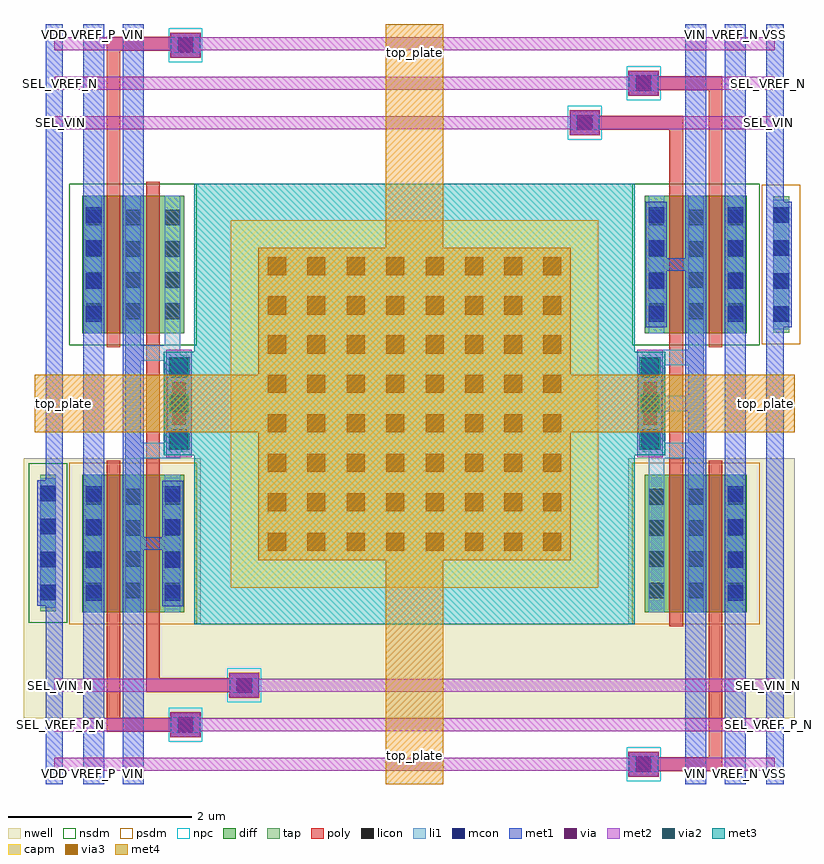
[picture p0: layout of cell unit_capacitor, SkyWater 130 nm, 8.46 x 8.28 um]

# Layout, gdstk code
from math import pi, radians
import gdstk
lib = gdstk.Library(unit=1e-6, precision=1e-09)
def R(c, l, rs):  # rectangles x0, y0, x1, y1
    for r in rs: c.add(gdstk.rectangle(r[:2], r[2:], *l))
def A(c, l, x, y, w, h, nx, ny, dx, dy):  # array of equal rectangles
    R(c, l, [(x+i*dx, y+j*dy, x+i*dx+w, y+j*dy+h) for i in range(nx) for j in range(ny)])
nwell = (64, 20)
diff = (65, 20)
tap = (65, 44)
poly = (66, 20)
licon = (66, 44)
li1 = (67, 20)
mcon = (67, 44)
met1 = (68, 20)
via = (68, 44)
met2 = (69, 20)
via2 = (69, 44)
met3 = (70, 20)
via3 = (70, 44)
met4 = (71, 20)
capm = (89, 44)
nsdm = (93, 44)
psdm = (94, 20)
npc = (95, 20)

cap_mim_m3__base__26 = lib.new_cell('cap_mim_m3__base$$26')
R(cap_mim_m3__base__26, met3, [(-0.4,-0.4,4.4,4.4)])
A(cap_mim_m3__base__26, via3, 0.4, 0.4, 0.2, 0.2, 6, 6, 0.43, 0.43)
A(cap_mim_m3__base__26, via3, 2.975, 0.4, 0.2, 0.2, 1, 6, 0, 0.43)
A(cap_mim_m3__base__26, via3, 3.4, 0.4, 0.2, 0.2, 1, 6, 0, 0.43)
A(cap_mim_m3__base__26, via3, 0.4, 2.975, 0.2, 0.2, 6, 2, 0.43, 0.425)
R(cap_mim_m3__base__26, via3, [(2.975,2.975,3.175,3.175), (3.4,2.975,3.6,3.175), (2.975,3.4,3.175,3.6), (3.4,3.4,3.6,3.6)])
R(cap_mim_m3__base__26, met4, [(0.3,0.3,3.7,3.7)])
R(cap_mim_m3__base__26, capm, [(0,0,4,4)])
cap_mim_m3__base__26.add(gdstk.Label('MINUS', (2,2), layer=70, texttype=20))
cap_mim_m3__base__26.add(gdstk.Label('PLUS', (2,2), layer=71, texttype=20))

pfet_01v8__27 = lib.new_cell('pfet_01v8$$27')
R(pfet_01v8__27, nwell, [(-0.405,-0.18,0.595,1.68)])
R(pfet_01v8__27, diff, [(-0.225,0,0,1.5), (0,0,0.15,1.5), (0.15,0,0.415,1.5)])
R(pfet_01v8__27, poly, [(0,-0.15,0.15,-0.095), (0,-0.095,0.15,0), (0,0,0.15,1.5), (0,1.5,0.15,1.595), (0,1.595,0.15,1.65)])
A(pfet_01v8__27, licon, -0.225, 0.155, 0.17, 0.17, 1, 4, 0, 0.34)
A(pfet_01v8__27, licon, 0.205, 0.155, 0.17, 0.17, 1, 4, 0, 0.34)
R(pfet_01v8__27, li1, [(-0.225,0,-0.055,1.5), (0.205,0,0.375,1.5)])
R(pfet_01v8__27, psdm, [(-0.235,-0.13,0.555,1.63)])
pfet_01v8__27.add(gdstk.Label('D_drain_1', (0.282,0.75), layer=65, texttype=20))
pfet_01v8__27.add(gdstk.Label('S_source_0', (-0.112,0.75), layer=65, texttype=20))
pfet_01v8__27.add(gdstk.Label('G_gate_1', (0.075,-0.122), layer=66, texttype=20))
pfet_01v8__27.add(gdstk.Label('G_gate_1', (0.075,1.622), layer=66, texttype=20))
pfet_01v8__27.add(gdstk.Label('D_drain_1', (0.29,0.75), layer=67, texttype=20))
pfet_01v8__27.add(gdstk.Label('S_source_0', (-0.14,0.75), layer=67, texttype=20))
pfet_01v8__27.add(gdstk.Label('B', (0.095,0.75), layer=64, texttype=20))

pfet_01v8__28 = lib.new_cell('pfet_01v8$$28')
R(pfet_01v8__28, nwell, [(-0.445,-0.18,0.385,1.68)])
R(pfet_01v8__28, diff, [(-0.265,0,0,1.5), (0,0,0.15,1.5), (0.15,0,0.205,1.5)])
R(pfet_01v8__28, poly, [(0,-0.15,0.15,-0.095), (0,-0.095,0.15,0), (0,0,0.15,1.5), (0,1.5,0.15,1.595), (0,1.595,0.15,1.65)])
A(pfet_01v8__28, licon, -0.225, 0.155, 0.17, 0.17, 1, 4, 0, 0.34)
R(pfet_01v8__28, li1, [(-0.225,0,-0.055,1.5)])
R(pfet_01v8__28, psdm, [(-0.405,-0.13,0.215,1.63)])
pfet_01v8__28.add(gdstk.Label('D_drain_1', (0.177,0.75), layer=65, texttype=20))
pfet_01v8__28.add(gdstk.Label('S_source_0', (-0.132,0.75), layer=65, texttype=20))
pfet_01v8__28.add(gdstk.Label('G_gate_1', (0.075,-0.122), layer=66, texttype=20))
pfet_01v8__28.add(gdstk.Label('G_gate_1', (0.075,1.622), layer=66, texttype=20))
pfet_01v8__28.add(gdstk.Label('S_source_0', (-0.14,0.75), layer=67, texttype=20))
pfet_01v8__28.add(gdstk.Label('B', (-0.03,0.75), layer=64, texttype=20))

nfet_01v8__29 = lib.new_cell('nfet_01v8$$29')
R(nfet_01v8__29, diff, [(-0.265,0,0,1.5), (0,0,0.15,1.5), (0.15,0,0.375,1.5)])
R(nfet_01v8__29, poly, [(0,-0.15,0.15,-0.095), (0,-0.095,0.15,0), (0,0,0.15,1.5), (0,1.5,0.15,1.595), (0,1.595,0.15,1.65)])
A(nfet_01v8__29, licon, -0.225, 0.155, 0.17, 0.17, 1, 4, 0, 0.34)
A(nfet_01v8__29, licon, 0.205, 0.155, 0.17, 0.17, 1, 4, 0, 0.34)
R(nfet_01v8__29, li1, [(-0.225,0,-0.055,1.5), (0.205,0,0.375,1.5)])
R(nfet_01v8__29, nsdm, [(-0.405,-0.13,0.385,1.63)])
nfet_01v8__29.add(gdstk.Label('D_drain_1', (0.262,0.75), layer=65, texttype=20))
nfet_01v8__29.add(gdstk.Label('S_source_0', (-0.132,0.75), layer=65, texttype=20))
nfet_01v8__29.add(gdstk.Label('G_gate_1', (0.075,-0.122), layer=66, texttype=20))
nfet_01v8__29.add(gdstk.Label('G_gate_1', (0.075,1.622), layer=66, texttype=20))
nfet_01v8__29.add(gdstk.Label('D_drain_1', (0.29,0.75), layer=67, texttype=20))
nfet_01v8__29.add(gdstk.Label('S_source_0', (-0.14,0.75), layer=67, texttype=20))

nfet_01v8__30 = lib.new_cell('nfet_01v8$$30')
R(nfet_01v8__30, diff, [(-0.055,0,0,1.5), (0,0,0.15,1.5), (0.15,0,0.415,1.5)])
R(nfet_01v8__30, poly, [(0,-0.15,0.15,-0.095), (0,-0.095,0.15,0), (0,0,0.15,1.5), (0,1.5,0.15,1.595), (0,1.595,0.15,1.65)])
A(nfet_01v8__30, licon, 0.205, 0.155, 0.17, 0.17, 1, 4, 0, 0.34)
R(nfet_01v8__30, li1, [(0.205,0,0.375,1.5)])
R(nfet_01v8__30, nsdm, [(-0.065,-0.13,0.555,1.63)])
nfet_01v8__30.add(gdstk.Label('D_drain_1', (0.282,0.75), layer=65, texttype=20))
nfet_01v8__30.add(gdstk.Label('S_source_0', (-0.027,0.75), layer=65, texttype=20))
nfet_01v8__30.add(gdstk.Label('G_gate_1', (0.075,-0.122), layer=66, texttype=20))
nfet_01v8__30.add(gdstk.Label('G_gate_1', (0.075,1.622), layer=66, texttype=20))
nfet_01v8__30.add(gdstk.Label('D_drain_1', (0.29,0.75), layer=67, texttype=20))

polyconn__19 = lib.new_cell('polyConn$$19')
R(polyconn__19, poly, [(-0.135,-0.165,0.135,0.165)])
R(polyconn__19, licon, [(-0.085,-0.085,0.085,0.085)])
R(polyconn__19, li1, [(-0.085,-0.165,0.085,0.165)])
R(polyconn__19, mcon, [(-0.085,-0.085,0.085,0.085)])
R(polyconn__19, met1, [(-0.13,-0.16,0.13,0.16)])
R(polyconn__19, npc, [(-0.185,-0.185,0.185,0.185)])

m1m2_c__11 = lib.new_cell('M1M2_C$$11')
R(m1m2_c__11, met1, [(-0.13,-0.16,0.13,0.16)])
R(m1m2_c__11, via, [(-0.075,-0.075,0.075,0.075)])
R(m1m2_c__11, met2, [(-0.13,-0.16,0.13,0.16)])

l1m1_c__18 = lib.new_cell('L1M1_C$$18')
R(l1m1_c__18, li1, [(-0.085,-0.525,0.085,0.525)])
A(l1m1_c__18, mcon, -0.085, -0.445, 0.17, 0.17, 1, 3, 0, 0.36)
R(l1m1_c__18, met1, [(-0.115,-0.505,0.115,0.505)])

m1m2_c__20 = lib.new_cell('M1M2_C$$20')
R(m1m2_c__20, met1, [(-0.13,-0.32,0.13,0.32)])
R(m1m2_c__20, via, [(-0.075,-0.235,0.075,-0.085), (-0.075,0.085,0.075,0.235)])
R(m1m2_c__20, met2, [(-0.14,-0.385,0.14,0.385)])

l1m1_c__21 = lib.new_cell('L1M1_C$$21')
R(l1m1_c__21, li1, [(-0.1,-0.3,0.1,0.3)])
R(l1m1_c__21, mcon, [(-0.085,-0.085,0.085,0.085)])
R(l1m1_c__21, met1, [(-0.13,-0.32,0.13,0.32)])

nwelltap__22 = lib.new_cell('nwellTap$$22')
R(nwelltap__22, nwell, [(-0.265,-0.925,0.265,0.925)])
R(nwelltap__22, tap, [(-0.085,-0.745,0.085,0.745)])
A(nwelltap__22, licon, -0.085, -0.625, 0.17, 0.17, 1, 4, 0, 0.36)
R(nwelltap__22, li1, [(-0.085,-0.705,0.085,0.705)])
A(nwelltap__22, mcon, -0.085, -0.625, 0.17, 0.17, 1, 4, 0, 0.36)
R(nwelltap__22, met1, [(-0.115,-0.685,0.115,0.685)])
R(nwelltap__22, nsdm, [(-0.21,-0.87,0.21,0.87)])

subtap__23 = lib.new_cell('subTap$$23')
R(subtap__23, tap, [(-0.085,-0.745,0.085,0.745)])
A(subtap__23, licon, -0.085, -0.625, 0.17, 0.17, 1, 4, 0, 0.36)
R(subtap__23, li1, [(-0.085,-0.705,0.085,0.705)])
A(subtap__23, mcon, -0.085, -0.625, 0.17, 0.17, 1, 4, 0, 0.36)
R(subtap__23, met1, [(-0.115,-0.685,0.115,0.685)])
R(subtap__23, psdm, [(-0.21,-0.87,0.21,0.87)])

l1m1_c__24 = lib.new_cell('L1M1_C$$24')
R(l1m1_c__24, li1, [(-0.085,-0.705,0.085,0.705)])
A(l1m1_c__24, mcon, -0.085, -0.625, 0.17, 0.17, 1, 4, 0, 0.36)
R(l1m1_c__24, met1, [(-0.115,-0.685,0.115,0.685)])

m2m3_c__25 = lib.new_cell('M2M3_C$$25')
R(m2m3_c__25, met2, [(-0.14,-0.585,0.14,0.585)])
A(m2m3_c__25, via2, -0.1, -0.5, 0.2, 0.2, 1, 3, 0, 0.4)
R(m2m3_c__25, met3, [(-0.165,-0.565,0.165,0.565)])

unit_capacitor = lib.new_cell('unit_capacitor')
R(unit_capacitor, nwell, [(-0.12,0.715,8.28,1.74), (6.47,1.74,8.28,3.55)])
R(unit_capacitor, met1, [(0.12,0,0.31,0.23), (0.53,0,0.76,0.23), (0.96,0,1.19,0.23), (7.09,0,7.32,0.23), (7.52,0,7.75,0.23), (7.97,0,8.16,0.23), (0.12,8.05,0.31,8.28), (0.53,8.05,0.76,8.28), (0.96,8.05,1.19,8.28), (7.09,8.05,7.32,8.28), (7.52,8.05,7.75,8.28), (7.97,8.05,8.16,8.28)])
A(unit_capacitor, met2, 0.215, 0.145, 0.14, 0.14, 1, 3, 0, 0.43)
A(unit_capacitor, met2, 7.925, 0.145, 0.14, 0.14, 1, 3, 0, 0.43)
A(unit_capacitor, met2, 0.215, 7.135, 0.14, 0.14, 1, 3, 0, 0.43)
A(unit_capacitor, met2, 7.925, 7.135, 0.14, 0.14, 1, 3, 0, 0.43)
R(unit_capacitor, met4, [(3.825,0,4.455,0.63), (0,3.83,0.63,4.46), (7.65,3.83,8.28,4.46), (3.825,7.65,4.455,8.28)])
unit_capacitor.add(gdstk.FlexPath([(0.54,4.145),(2.44,4.145)], 0.63, ends="flush", simple_path=True, layer=71, datatype=20))  # met4
unit_capacitor.add(gdstk.FlexPath([(4.14,0.63),(4.14,2.44)], 0.63, ends="flush", simple_path=True, layer=71, datatype=20))  # met4
unit_capacitor.add(gdstk.FlexPath([(7.65,4.145),(5.84,4.145)], 0.63, ends="flush", simple_path=True, layer=71, datatype=20))  # met4
unit_capacitor.add(gdstk.FlexPath([(4.14,7.65),(4.14,5.84)], 0.63, ends="flush", simple_path=True, layer=71, datatype=20))  # met4
unit_capacitor.add(gdstk.FlexPath([(7.205,4.645),(7.205,4.91)], 0.17, ends=(0.085, 0), simple_path=True, layer=67, datatype=20))  # li1
unit_capacitor.add(gdstk.FlexPath([(7.205,3.635),(7.205,4.145)], 0.17, ends="extended", simple_path=True, layer=67, datatype=20))  # li1
unit_capacitor.add(gdstk.FlexPath([(1.075,4.695),(1.075,4.91)], 0.17, ends=(0.085, 0), simple_path=True, layer=67, datatype=20))  # li1
unit_capacitor.add(gdstk.FlexPath([(6.775,3.635),(6.775,4.145)], 0.17, ends="extended", simple_path=True, layer=67, datatype=20))  # li1
unit_capacitor.add(gdstk.FlexPath([(1.075,3.37),(1.075,3.635)], 0.17, ends=(0, 0.085), simple_path=True, layer=67, datatype=20))  # li1
unit_capacitor.add(gdstk.FlexPath([(6.775,4.645),(6.775,4.145)], 0.17, ends="extended", simple_path=True, layer=67, datatype=20))  # li1
unit_capacitor.add(gdstk.FlexPath([(6.775,3.37),(6.775,3.635)], 0.17, ends=(0, 0.085), simple_path=True, layer=67, datatype=20))  # li1
unit_capacitor.add(gdstk.FlexPath([(1.075,3.635),(1.075,4.695)], 0.17, ends="extended", simple_path=True, layer=67, datatype=20))  # li1
unit_capacitor.add(gdstk.FlexPath([(7.205,3.635),(6.775,3.635)], 0.17, ends="extended", simple_path=True, layer=67, datatype=20))  # li1
unit_capacitor.add(gdstk.FlexPath([(7.205,4.645),(6.775,4.645)], 0.17, ends="extended", simple_path=True, layer=67, datatype=20))  # li1
unit_capacitor.add(gdstk.FlexPath([(7.205,4.145),(7.205,4.645)], 0.17, ends="extended", simple_path=True, layer=67, datatype=20))  # li1
unit_capacitor.add(gdstk.FlexPath([(1.505,3.635),(1.505,4.96)], 0.17, ends=(0.085, 0), simple_path=True, layer=67, datatype=20))  # li1
unit_capacitor.add(gdstk.FlexPath([(7.205,3.37),(7.205,3.635)], 0.17, ends=(0, 0.085), simple_path=True, layer=67, datatype=20))  # li1
unit_capacitor.add(gdstk.FlexPath([(1.075,4.695),(1.42,4.695)], 0.17, ends=(0.085, 0), simple_path=True, layer=67, datatype=20))  # li1
unit_capacitor.add(gdstk.FlexPath([(6.775,4.145),(7.205,4.145)], 0.17, ends="extended", simple_path=True, layer=67, datatype=20))  # li1
unit_capacitor.add(gdstk.FlexPath([(1.075,3.635),(1.505,3.635)], 0.17, ends="extended", simple_path=True, layer=67, datatype=20))  # li1
unit_capacitor.add(gdstk.FlexPath([(7.42,6.56),(7.42,7.635)], 0.15, ends=(0, 0.075), simple_path=True, layer=66, datatype=20))  # poly
unit_capacitor.add(gdstk.FlexPath([(6.99,7.205),(5.995,7.205)], 0.15, ends=(0.075, 0), simple_path=True, layer=66, datatype=20))  # poly
unit_capacitor.add(gdstk.FlexPath([(7.42,7.635),(6.635,7.635)], 0.15, ends=(0.075, 0), simple_path=True, layer=66, datatype=20))  # poly
unit_capacitor.add(gdstk.FlexPath([(0.86,1.72),(0.86,0.645)], 0.15, ends=(0, 0.075), simple_path=True, layer=66, datatype=20))  # poly
unit_capacitor.add(gdstk.FlexPath([(1.29,1.075),(2.285,1.075)], 0.15, ends=(0.075, 0), simple_path=True, layer=66, datatype=20))  # poly
unit_capacitor.add(gdstk.FlexPath([(7.42,1.72),(7.42,0.215)], 0.15, ends=(0, 0.075), simple_path=True, layer=66, datatype=20))  # poly
unit_capacitor.add(gdstk.FlexPath([(1.29,3.52),(1.29,4.76)], 0.15, ends="flush", simple_path=True, layer=66, datatype=20))  # poly
unit_capacitor.add(gdstk.FlexPath([(1.645,8.065),(1.645,8.05)], 0.15, ends=(0.075, 0), simple_path=True, layer=66, datatype=20))  # poly
unit_capacitor.add(gdstk.FlexPath([(1.29,1.72),(1.29,1.075)], 0.15, ends=(0, 0.075), simple_path=True, layer=66, datatype=20))  # poly
unit_capacitor.add(gdstk.FlexPath([(0.86,6.56),(0.86,8.065)], 0.15, ends=(0, 0.075), simple_path=True, layer=66, datatype=20))  # poly
unit_capacitor.add(gdstk.FlexPath([(6.99,6.56),(6.99,7.205)], 0.15, ends=(0, 0.075), simple_path=True, layer=66, datatype=20))  # poly
unit_capacitor.add(gdstk.FlexPath([(0.86,8.065),(1.645,8.065)], 0.15, ends="extended", simple_path=True, layer=66, datatype=20))  # poly
unit_capacitor.add(gdstk.FlexPath([(6.99,3.52),(6.99,4.76)], 0.15, ends="flush", simple_path=True, layer=66, datatype=20))  # poly
unit_capacitor.add(gdstk.FlexPath([(7.42,0.215),(6.635,0.215)], 0.15, ends=(0.075, 0), simple_path=True, layer=66, datatype=20))  # poly
unit_capacitor.add(gdstk.FlexPath([(0.86,0.645),(1.645,0.645)], 0.15, ends=(0.075, 0), simple_path=True, layer=66, datatype=20))  # poly
unit_capacitor.add(gdstk.FlexPath([(1.075,2.62),(1.505,2.62)], 0.14, ends=(0.115, 0), simple_path=True, layer=68, datatype=20))  # met1
unit_capacitor.add(gdstk.FlexPath([(7.205,8.28),(7.205,5.66)], 0.23, ends=(0, 0.07), simple_path=True, layer=68, datatype=20))  # met1
unit_capacitor.add(gdstk.FlexPath([(0.645,8.28),(0.645,0)], 0.23, ends="flush", simple_path=True, layer=68, datatype=20))  # met1
unit_capacitor.add(gdstk.FlexPath([(7.205,5.66),(6.775,5.66)], 0.14, ends=(0.115, 0), simple_path=True, layer=68, datatype=20))  # met1
unit_capacitor.add(gdstk.FlexPath([(1.075,8.28),(1.075,2.62)], 0.23, ends=(0, 0.07), simple_path=True, layer=68, datatype=20))  # met1
unit_capacitor.add(gdstk.FlexPath([(7.635,8.28),(7.635,0)], 0.23, ends="flush", simple_path=True, layer=68, datatype=20))  # met1
unit_capacitor.add(gdstk.FlexPath([(0.215,8.28),(0.215,0)], 0.19, ends="flush", simple_path=True, layer=68, datatype=20))  # met1
unit_capacitor.add(gdstk.FlexPath([(1.075,2.62),(1.075,0)], 0.23, ends=(0.07, 0), simple_path=True, layer=68, datatype=20))  # met1
unit_capacitor.add(gdstk.FlexPath([(8.065,8.28),(8.065,0)], 0.19, ends="flush", simple_path=True, layer=68, datatype=20))  # met1
unit_capacitor.add(gdstk.FlexPath([(7.205,5.66),(7.205,0)], 0.23, ends=(0.07, 0), simple_path=True, layer=68, datatype=20))  # met1
unit_capacitor.add(gdstk.FlexPath([(0.255,7.635),(8.025,7.635)], 0.14, ends="flush", simple_path=True, layer=69, datatype=20))  # met2
unit_capacitor.add(gdstk.FlexPath([(0.255,8.065),(8.025,8.065)], 0.14, ends="flush", simple_path=True, layer=69, datatype=20))  # met2
unit_capacitor.add(gdstk.FlexPath([(0.255,7.205),(8.025,7.205)], 0.14, ends="flush", simple_path=True, layer=69, datatype=20))  # met2
unit_capacitor.add(gdstk.FlexPath([(0.255,0.215),(8.025,0.215)], 0.14, ends="flush", simple_path=True, layer=69, datatype=20))  # met2
unit_capacitor.add(gdstk.FlexPath([(0.255,0.645),(8.025,0.645)], 0.14, ends="flush", simple_path=True, layer=69, datatype=20))  # met2
unit_capacitor.add(gdstk.FlexPath([(0.255,1.075),(8.025,1.075)], 0.14, ends="flush", simple_path=True, layer=69, datatype=20))  # met2
unit_capacitor.add(gdstk.Reference(cap_mim_m3__base__26, (2.14,2.14)))
unit_capacitor.add(gdstk.Reference(pfet_01v8__27, (0.935,1.87), rotation=pi, x_reflection=True))
unit_capacitor.add(gdstk.Reference(pfet_01v8__27, (7.345,1.87)))
unit_capacitor.add(gdstk.Reference(pfet_01v8__28, (6.915,1.87)))
unit_capacitor.add(gdstk.Reference(pfet_01v8__28, (1.365,1.87), rotation=pi, x_reflection=True))
unit_capacitor.add(gdstk.Reference(nfet_01v8__29, (0.785,4.91)))
unit_capacitor.add(gdstk.Reference(nfet_01v8__29, (7.495,4.91), rotation=pi, x_reflection=True))
unit_capacitor.add(gdstk.Reference(nfet_01v8__30, (1.215,4.91)))
unit_capacitor.add(gdstk.Reference(nfet_01v8__30, (7.065,4.91), rotation=pi, x_reflection=True))
unit_capacitor.add(gdstk.Reference(polyconn__19, (1.645,0.645), rotation=pi/2))
unit_capacitor.add(gdstk.Reference(polyconn__19, (6.635,7.635), rotation=pi/2))
unit_capacitor.add(gdstk.Reference(polyconn__19, (2.285,1.075), rotation=pi/2))
unit_capacitor.add(gdstk.Reference(polyconn__19, (5.995,7.205), rotation=pi/2))
unit_capacitor.add(gdstk.Reference(polyconn__19, (6.635,0.215), rotation=pi/2))
unit_capacitor.add(gdstk.Reference(polyconn__19, (1.645,8.05), rotation=pi/2))
unit_capacitor.add(gdstk.Reference(m1m2_c__11, (1.645,0.645), rotation=pi/2))
unit_capacitor.add(gdstk.Reference(m1m2_c__11, (6.635,7.635), rotation=pi/2))
unit_capacitor.add(gdstk.Reference(m1m2_c__11, (2.285,1.075), rotation=pi/2))
unit_capacitor.add(gdstk.Reference(m1m2_c__11, (5.995,7.205), rotation=pi/2))
unit_capacitor.add(gdstk.Reference(m1m2_c__11, (6.635,0.215), rotation=pi/2))
unit_capacitor.add(gdstk.Reference(m1m2_c__11, (1.645,8.05), rotation=pi/2))
unit_capacitor.add(gdstk.Reference(l1m1_c__18, (1.575,4.145)))
unit_capacitor.add(gdstk.Reference(l1m1_c__18, (6.705,4.145)))
unit_capacitor.add(gdstk.Reference(m1m2_c__20, (6.705,4.145)))
unit_capacitor.add(gdstk.Reference(m1m2_c__20, (1.575,4.145)))
unit_capacitor.add(gdstk.Reference(l1m1_c__21, (6.705,4.145)))
unit_capacitor.add(gdstk.Reference(l1m1_c__21, (1.575,4.145)))
unit_capacitor.add(gdstk.Reference(nwelltap__22, (0.145,2.625)))
unit_capacitor.add(gdstk.Reference(subtap__23, (8.135,5.66)))
unit_capacitor.add(gdstk.Reference(l1m1_c__24, (6.775,5.66)))
unit_capacitor.add(gdstk.Reference(l1m1_c__24, (1.505,2.62)))
unit_capacitor.add(gdstk.Reference(l1m1_c__24, (7.635,5.66)))
unit_capacitor.add(gdstk.Reference(l1m1_c__24, (0.645,5.66)))
unit_capacitor.add(gdstk.Reference(l1m1_c__24, (0.645,2.62)))
unit_capacitor.add(gdstk.Reference(l1m1_c__24, (7.635,2.62)))
unit_capacitor.add(gdstk.Reference(m2m3_c__25, (6.705,4.145)))
unit_capacitor.add(gdstk.Reference(m2m3_c__25, (1.575,4.145)))
unit_capacitor.add(gdstk.Label('top_plate', (0.315,4.145), layer=71, texttype=20))
unit_capacitor.add(gdstk.Label('top_plate', (4.14,7.965), layer=71, texttype=20))
unit_capacitor.add(gdstk.Label('top_plate', (7.965,4.145), layer=71, texttype=20))
unit_capacitor.add(gdstk.Label('top_plate', (4.14,0.315), layer=71, texttype=20))
unit_capacitor.add(gdstk.Label('VREF_P', (0.645,0.115), layer=68, texttype=20))
unit_capacitor.add(gdstk.Label('VIN', (1.075,0.115), layer=68, texttype=20))
unit_capacitor.add(gdstk.Label('VDD', (0.215,0.115), layer=68, texttype=20))
unit_capacitor.add(gdstk.Label('VSS', (8.065,0.115), layer=68, texttype=20))
unit_capacitor.add(gdstk.Label('VIN', (7.205,0.115), layer=68, texttype=20))
unit_capacitor.add(gdstk.Label('VREF_N', (7.635,0.115), layer=68, texttype=20))
unit_capacitor.add(gdstk.Label('VSS', (8.065,8.165), layer=68, texttype=20))
unit_capacitor.add(gdstk.Label('VIN', (7.205,8.165), layer=68, texttype=20))
unit_capacitor.add(gdstk.Label('VREF_N', (7.635,8.165), layer=68, texttype=20))
unit_capacitor.add(gdstk.Label('VREF_P', (0.645,8.165), layer=68, texttype=20))
unit_capacitor.add(gdstk.Label('VIN', (1.075,8.165), layer=68, texttype=20))
unit_capacitor.add(gdstk.Label('VDD', (0.215,8.165), layer=68, texttype=20))
unit_capacitor.add(gdstk.Label('SEL_VREF_N', (7.995,7.635), layer=69, texttype=20))
unit_capacitor.add(gdstk.Label('SEL_VIN', (7.995,7.205), layer=69, texttype=20))
unit_capacitor.add(gdstk.Label('SEL_VREF_P', (7.995,8.065), layer=69, texttype=20))
unit_capacitor.add(gdstk.Label('SEL_VREF_N_N', (7.995,0.215), layer=69, texttype=20))
unit_capacitor.add(gdstk.Label('SEL_VIN_N', (7.995,1.075), layer=69, texttype=20))
unit_capacitor.add(gdstk.Label('SEL_VREF_P_N', (7.995,0.645), layer=69, texttype=20))
unit_capacitor.add(gdstk.Label('SEL_VREF_N_N', (0.285,0.215), layer=69, texttype=20))
unit_capacitor.add(gdstk.Label('SEL_VIN_N', (0.285,1.075), layer=69, texttype=20))
unit_capacitor.add(gdstk.Label('SEL_VREF_P_N', (0.285,0.645), layer=69, texttype=20))
unit_capacitor.add(gdstk.Label('SEL_VREF_N', (0.285,7.635), layer=69, texttype=20))
unit_capacitor.add(gdstk.Label('SEL_VIN', (0.285,7.205), layer=69, texttype=20))
unit_capacitor.add(gdstk.Label('SEL_VREF_P', (0.285,8.065), layer=69, texttype=20))
unit_capacitor.add(gdstk.Label('SEL_VREF_N', (7.615,7.635), layer=69, texttype=5))
unit_capacitor.add(gdstk.Label('SEL_VIN', (7.785,7.205), layer=69, texttype=5))
unit_capacitor.add(gdstk.Label('SEL_VREF_P', (7.62,8.065), layer=69, texttype=5))
unit_capacitor.add(gdstk.Label('SEL_VREF_N_N', (7.51,0.215), layer=69, texttype=5))
unit_capacitor.add(gdstk.Label('SEL_VIN_N', (7.685,1.075), layer=69, texttype=5))
unit_capacitor.add(gdstk.Label('SEL_VREF_P_N', (7.52,0.645), layer=69, texttype=5))
unit_capacitor.add(gdstk.Label('SEL_VREF_N_N', (0.775,0.215), layer=69, texttype=5))
unit_capacitor.add(gdstk.Label('SEL_VIN_N', (0.605,1.075), layer=69, texttype=5))
unit_capacitor.add(gdstk.Label('SEL_VREF_P_N', (0.765,0.645), layer=69, texttype=5))
unit_capacitor.add(gdstk.Label('SEL_VREF_N', (0.665,7.635), layer=69, texttype=5))
unit_capacitor.add(gdstk.Label('SEL_VIN', (0.5,7.205), layer=69, texttype=5))
unit_capacitor.add(gdstk.Label('SEL_VREF_P', (0.665,8.065), layer=69, texttype=5))
unit_capacitor.add(gdstk.Label('VREF_P', (0.6,0.07), layer=68, texttype=5))
unit_capacitor.add(gdstk.Label('VIN', (1.03,0.07), layer=68, texttype=5))
unit_capacitor.add(gdstk.Label('VDD', (0.19,0.07), layer=68, texttype=5))
unit_capacitor.add(gdstk.Label('VSS', (8.04,0.07), layer=68, texttype=5))
unit_capacitor.add(gdstk.Label('VIN', (7.16,0.07), layer=68, texttype=5))
unit_capacitor.add(gdstk.Label('VREF_N', (7.59,0.07), layer=68, texttype=5))
unit_capacitor.add(gdstk.Label('VSS', (8.04,8.12), layer=68, texttype=5))
unit_capacitor.add(gdstk.Label('VIN', (7.16,8.12), layer=68, texttype=5))
unit_capacitor.add(gdstk.Label('VREF_N', (7.59,8.12), layer=68, texttype=5))
unit_capacitor.add(gdstk.Label('VREF_P', (0.6,8.12), layer=68, texttype=5))
unit_capacitor.add(gdstk.Label('VIN', (1.03,8.12), layer=68, texttype=5))
unit_capacitor.add(gdstk.Label('VDD', (0.19,8.12), layer=68, texttype=5))
unit_capacitor.add(gdstk.Label('top_plate', (0.31,4.14), layer=71, texttype=5))
unit_capacitor.add(gdstk.Label('top_plate', (7.96,4.14), layer=71, texttype=5))
unit_capacitor.add(gdstk.Label('top_plate', (4.135,0.31), layer=71, texttype=5))
unit_capacitor.add(gdstk.Label('top_plate', (4.135,7.96), layer=71, texttype=5))

lib.write_gds('unit_capacitor.gds')
